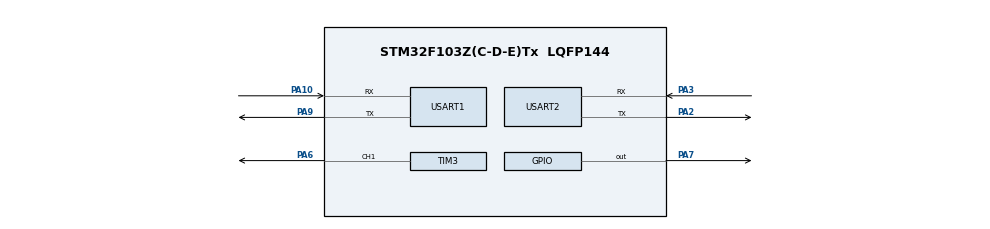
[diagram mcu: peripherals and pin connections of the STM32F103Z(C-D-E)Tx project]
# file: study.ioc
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Mcu.Family=STM32F1
Mcu.Name=STM32F103Z(C-D-E)Tx
Mcu.Package=LQFP144
NVIC.PriorityGroup=NVIC_PRIORITYGROUP_4
NVIC.USART1_IRQn=true\:0\:0\:false\:false\:true\:true\:true\:true
PA10.Mode=Asynchronous
PA10.Signal=USART1_RX
PA13.Mode=Serial_Wire
PA13.Signal=SYS_JTMS-SWDIO
PA14.Mode=Serial_Wire
PA14.Signal=SYS_JTCK-SWCLK
PA2.Mode=Asynchronous
PA2.Signal=USART2_TX
PA3.Mode=Asynchronous
PA3.Signal=USART2_RX
PA6.Signal=S_TIM3_CH1
PA7.Signal=GPIO_Output
PA9.Mode=Asynchronous
PA9.Signal=USART1_TX
ProjectManager.HeapSize=0x200
ProjectManager.StackSize=0x400
ProjectManager.TargetToolchain=MDK-ARM V5.32
RCC.APB1Freq_Value=8000000
RCC.APB2Freq_Value=8000000
SH.S_TIM3_CH1.0=TIM3_CH1,PWM Generation1 CH1
TIM3.Channel-PWM\ Generation1\ CH1=TIM_CHANNEL_1
TIM3.Period=249
TIM3.Prescaler=29
TIM3.Pulse-PWM\ Generation1\ CH1=125
USART1.VirtualMode=VM_ASYNC
USART2.VirtualMode=VM_ASYNC
board=custom

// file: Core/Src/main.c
/* USER CODE BEGIN Header */
/**
  ******************************************************************************
  * @file           : main.c
  * @brief          : Main program body
  ******************************************************************************
  * @attention
  *
  * Copyright (c) 2026 STMicroelectronics.
  * All rights reserved.
  *
  * This software is licensed under terms that can be found in the LICENSE file
  * in the root directory of this software component.
  * If no LICENSE file comes with this software, it is provided AS-IS.
  *
  ******************************************************************************
  */
/* USER CODE END Header */
#include "main.h"

/* USER CODE BEGIN Includes */
#include <stdio.h>

/* USER CODE END Includes */

TIM_HandleTypeDef htim3;

UART_HandleTypeDef huart1;
UART_HandleTypeDef huart2;

/* USER CODE BEGIN PV */
uint8_t rx_byte;
volatile uint8_t rx_buffer[64];
volatile uint8_t rx_write = 0;
volatile uint8_t rx_read = 0;
volatile uint32_t rx_overflow = 0;
uint16_t ball_x = 0;
uint8_t ball_valid = 0;
uint32_t invalid_frames = 0;

/* USER CODE END PV */

void SystemClock_Config(void);
static void MX_GPIO_Init(void);
static void MX_USART1_UART_Init(void);
static void MX_USART2_UART_Init(void);
static void MX_TIM3_Init(void);

/* USER CODE BEGIN 0 */
/* Collect five-byte K230 frames and print valid positions over USART2. */
static void ProcessK230Byte(uint8_t byte)
{
  static uint8_t frame[5];
  static uint8_t count = 0;
  uint8_t checksum;
  uint16_t x;
  uint8_t i;
  char text[32];
  int length;

  if (count == 0 && byte != 0xAA)
  {
    return;
  }

  frame[count++] = byte;
  if (count < 5)
  {
    return;
  }

  checksum = (uint8_t)(frame[1] + frame[2] + frame[3]);
  x = ((uint16_t)frame[2] << 8) | frame[1];

  if (checksum == frame[4] && (frame[3] & 0xFC) == 0 &&
      (((frame[3] & 0x01) != 0 && x <= 640) ||
       (frame[3] == 0 && x == 0xFFFF)))
  {
    count = 0;
    ball_valid = (frame[3] & 0x01) != 0;
    if (ball_valid)
    {
      ball_x = x;
      length = snprintf(text, sizeof(text), "x=%u px\r\n", (unsigned int)x);
    }
    else
    {
      length = snprintf(text, sizeof(text), "no target\r\n");
    }

    if (length > 0 && length < (int)sizeof(text))
    {
      HAL_UART_Transmit(&huart2, (uint8_t *)text, (uint16_t)length, 10);
    }
    return;
  }

  invalid_frames++;
  /* Keep a possible next frame header within the rejected candidate. */
  for (i = 1; i < 5; i++)
  {
    if (frame[i] == 0xAA)
    {
      break;
    }
  }
  if (i < 5)
  {
    count = 5 - i;
    for (uint8_t j = 0; j < count; j++)
    {
      frame[j] = frame[i + j];
    }
  }
  else
  {
    count = 0;
  }
}

/* Keep the existing two-direction motor test without blocking the loop. */
static void MotorTestTask(void)
{
  static uint8_t state = 0;
  static uint32_t start_tick = 0;
  uint32_t now = HAL_GetTick();

  switch (state)
  {
    case 0:
      HAL_GPIO_WritePin(GPIOA, GPIO_PIN_7, GPIO_PIN_RESET);
      start_tick = now;
      state = 1;
      break;
    case 1:
      if ((uint32_t)(now - start_tick) >= 20)
      {
        HAL_TIM_PWM_Start(&htim3, TIM_CHANNEL_1);
        start_tick = now;
        state = 2;
      }
      break;
    case 2:
      if ((uint32_t)(now - start_tick) >= 2000)
      {
        HAL_TIM_PWM_Stop(&htim3, TIM_CHANNEL_1);
        start_tick = now;
        state = 3;
      }
      break;
    case 3:
      if ((uint32_t)(now - start_tick) >= 20)
      {
        HAL_GPIO_WritePin(GPIOA, GPIO_PIN_7, GPIO_PIN_SET);
        start_tick = now;
        state = 4;
      }
      break;
    case 4:
      if ((uint32_t)(now - start_tick) >= 20)
      {
        HAL_TIM_PWM_Start(&htim3, TIM_CHANNEL_1);
        start_tick = now;
        state = 5;
      }
      break;
    case 5:
      if ((uint32_t)(now - start_tick) >= 2000)
      {
        HAL_TIM_PWM_Stop(&htim3, TIM_CHANNEL_1);
        start_tick = now;
        state = 6;
      }
      break;
    case 6:
      if ((uint32_t)(now - start_tick) >= 20)
      {
        state = 0;
      }
      break;
    default:
      state = 0;
      break;
  }
}

/* USER CODE END 0 */

int main(void)
{

  /* MCU Configuration--------------------------------------------------------*/

  /* Reset of all peripherals, Initializes the Flash interface and the Systick. */
  HAL_Init();

  /* Configure the system clock */
  SystemClock_Config();

  /* Initialize all configured peripherals */
  MX_GPIO_Init();
  MX_USART1_UART_Init();
  MX_USART2_UART_Init();
  MX_TIM3_Init();
  /* USER CODE BEGIN 2 */
  HAL_UART_Receive_IT(&huart1, &rx_byte, 1);

  /* USER CODE END 2 */

  /* Infinite loop */
  while (1)
  {

    /* USER CODE BEGIN 3 */
    while (rx_read != rx_write)
    {
      uint8_t data = rx_buffer[rx_read];
      rx_read = (rx_read + 1) % 64;
      ProcessK230Byte(data);
    }
    MotorTestTask();
  }
  /* USER CODE END 3 */
}

void SystemClock_Config(void)
{
  RCC_OscInitTypeDef RCC_OscInitStruct = {0};
  RCC_ClkInitTypeDef RCC_ClkInitStruct = {0};

  /** Initializes the RCC Oscillators according to the specified parameters
  * in the RCC_OscInitTypeDef structure.
  */
  RCC_OscInitStruct.OscillatorType = RCC_OSCILLATORTYPE_HSI;
  RCC_OscInitStruct.HSIState = RCC_HSI_ON;
  RCC_OscInitStruct.HSICalibrationValue = RCC_HSICALIBRATION_DEFAULT;
  RCC_OscInitStruct.PLL.PLLState = RCC_PLL_NONE;
  if (HAL_RCC_OscConfig(&RCC_OscInitStruct) != HAL_OK)
  {
    Error_Handler();
  }

  /** Initializes the CPU, AHB and APB buses clocks
  */
  RCC_ClkInitStruct.ClockType = RCC_CLOCKTYPE_HCLK|RCC_CLOCKTYPE_SYSCLK
                              |RCC_CLOCKTYPE_PCLK1|RCC_CLOCKTYPE_PCLK2;
  RCC_ClkInitStruct.SYSCLKSource = RCC_SYSCLKSOURCE_HSI;
  RCC_ClkInitStruct.AHBCLKDivider = RCC_SYSCLK_DIV1;
  RCC_ClkInitStruct.APB1CLKDivider = RCC_HCLK_DIV1;
  RCC_ClkInitStruct.APB2CLKDivider = RCC_HCLK_DIV1;

  if (HAL_RCC_ClockConfig(&RCC_ClkInitStruct, FLASH_LATENCY_0) != HAL_OK)
  {
    Error_Handler();
  }
}

static void MX_TIM3_Init(void)
{

  TIM_MasterConfigTypeDef sMasterConfig = {0};
  TIM_OC_InitTypeDef sConfigOC = {0};

  htim3.Instance = TIM3;
  htim3.Init.Prescaler = 29;
  htim3.Init.CounterMode = TIM_COUNTERMODE_UP;
  htim3.Init.Period = 249;
  htim3.Init.ClockDivision = TIM_CLOCKDIVISION_DIV1;
  htim3.Init.AutoReloadPreload = TIM_AUTORELOAD_PRELOAD_DISABLE;
  if (HAL_TIM_PWM_Init(&htim3) != HAL_OK)
  {
    Error_Handler();
  }
  sMasterConfig.MasterOutputTrigger = TIM_TRGO_RESET;
  sMasterConfig.MasterSlaveMode = TIM_MASTERSLAVEMODE_DISABLE;
  if (HAL_TIMEx_MasterConfigSynchronization(&htim3, &sMasterConfig) != HAL_OK)
  {
    Error_Handler();
  }
  sConfigOC.OCMode = TIM_OCMODE_PWM1;
  sConfigOC.Pulse = 125;
  sConfigOC.OCPolarity = TIM_OCPOLARITY_HIGH;
  sConfigOC.OCFastMode = TIM_OCFAST_DISABLE;
  if (HAL_TIM_PWM_ConfigChannel(&htim3, &sConfigOC, TIM_CHANNEL_1) != HAL_OK)
  {
    Error_Handler();
  }
  HAL_TIM_MspPostInit(&htim3);

}

static void MX_USART1_UART_Init(void)
{

  huart1.Instance = USART1;
  huart1.Init.BaudRate = 115200;
  huart1.Init.WordLength = UART_WORDLENGTH_8B;
  huart1.Init.StopBits = UART_STOPBITS_1;
  huart1.Init.Parity = UART_PARITY_NONE;
  huart1.Init.Mode = UART_MODE_TX_RX;
  huart1.Init.HwFlowCtl = UART_HWCONTROL_NONE;
  huart1.Init.OverSampling = UART_OVERSAMPLING_16;
  if (HAL_UART_Init(&huart1) != HAL_OK)
  {
    Error_Handler();
  }

}

static void MX_USART2_UART_Init(void)
{

  huart2.Instance = USART2;
  huart2.Init.BaudRate = 115200;
  huart2.Init.WordLength = UART_WORDLENGTH_8B;
  huart2.Init.StopBits = UART_STOPBITS_1;
  huart2.Init.Parity = UART_PARITY_NONE;
  huart2.Init.Mode = UART_MODE_TX_RX;
  huart2.Init.HwFlowCtl = UART_HWCONTROL_NONE;
  huart2.Init.OverSampling = UART_OVERSAMPLING_16;
  if (HAL_UART_Init(&huart2) != HAL_OK)
  {
    Error_Handler();
  }

}

static void MX_GPIO_Init(void)
{
  GPIO_InitTypeDef GPIO_InitStruct = {0};

  /* GPIO Ports Clock Enable */
  __HAL_RCC_GPIOA_CLK_ENABLE();

  /*Configure GPIO pin Output Level */
  HAL_GPIO_WritePin(GPIOA, GPIO_PIN_7, GPIO_PIN_RESET);

  /*Configure GPIO pin : PA7 */
  GPIO_InitStruct.Pin = GPIO_PIN_7;
  GPIO_InitStruct.Mode = GPIO_MODE_OUTPUT_PP;
  GPIO_InitStruct.Pull = GPIO_NOPULL;
  GPIO_InitStruct.Speed = GPIO_SPEED_FREQ_LOW;
  HAL_GPIO_Init(GPIOA, &GPIO_InitStruct);

}

/* USER CODE BEGIN 4 */
void HAL_UART_RxCpltCallback(UART_HandleTypeDef *huart)
{
  if (huart->Instance == USART1)
  {
    uint8_t next = (rx_write + 1) % 64;

    if (next != rx_read)
    {
      rx_buffer[rx_write] = rx_byte;
      rx_write = next;
    }
    else
    {
      rx_overflow++;
    }

    HAL_UART_Receive_IT(&huart1, &rx_byte, 1);
  }
}

/* USER CODE END 4 */

void Error_Handler(void)
{
  __disable_irq();
  while (1)
  {
  }
}
